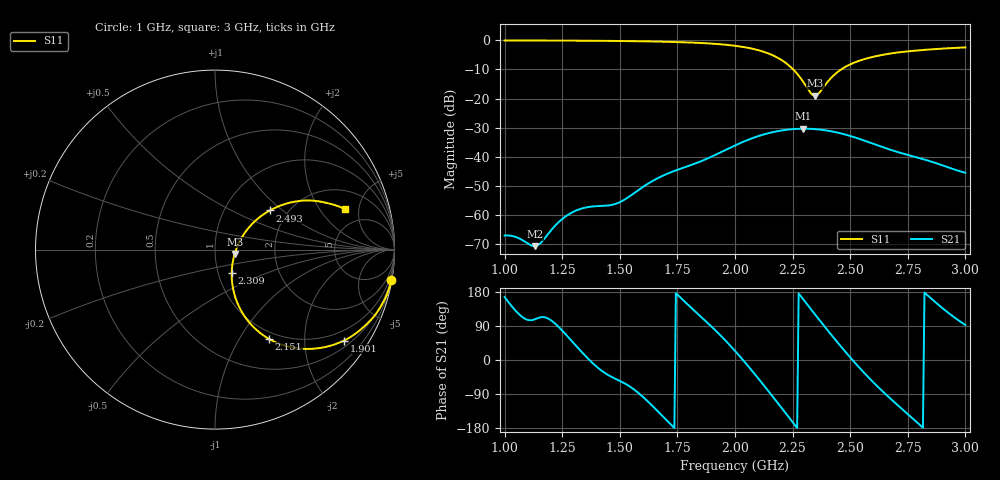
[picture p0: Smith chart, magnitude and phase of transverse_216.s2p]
! TOUCHSTONE file generated by CST MICROWAVE STUDIO
! Date and time: Tue Mar 11 13:57:49 2025
! Project name: transverse.cst
! Parameters = {Fracture=5; B=12.5; D=160; F=25; Feed=2.85625; L=100; M=30; R=0.384908; S=2; Theta=180; length=57.125; wave=114.25}
! Header version: 2024
! Port assignment regex: !\s*Touchstone port\s*([0-9]+)\s*=\s*(CST MWS port|CST DES external port|CST DES block port)\s*(.+)\s* \(\"(.*)\"\)(\s*mode\s*([0-9]+))?.*
! Touchstone port assignment:
! Touchstone port 1 = CST MWS port 1 ("")
! Touchstone port 2 = CST MWS port 2 ("")
# GHz S MA R 50
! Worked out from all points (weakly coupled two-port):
!   305 points, 1 GHz to 3 GHz, reference 50 ohm
!   highest |S21| = -30.34 dB at 2.296 GHz (marker M1); lowest = -70.7 dB at 1.132 GHz (marker M2)
!   lowest |S11| = -19.0 dB at 2.349 GHz (marker M3), VSWR 1.25, Z = 62.2 - j3.05 ohm
!   |S11| at or under -10 dB: 2.253 GHz to 2.461 GHz (207.7 MHz wide, 8.81 % of centre)
!   S12 and S22 are empty: the file has one direction only
!   S11 on the Smith chart (normalised r, x): 1 GHz: 0, -12; 1.901 GHz: 0.67, -3.02; 2.151 GHz: 0.90, -1.36; 2.309 GHz: 1.16, -0.31; 2.493 GHz: 1.62, +0.82; 3 GHz: 3.35, +3.54
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1  0.9976 -9.8  0.0004445 166.1  0 0.0  0 0.0
1.04605  0.9972 -10.4  0.0004224 131.1  0 0.0  0 0.0
1.13158  0.9959 -11.7  0.0002914 107.5  0 0.0  0 0.0
1.15789  0.9952 -12.1  0.0003355 113.0  0 0.0  0 0.0
1.25  0.992 -13.6  0.0008527 77.7  0 0.0  0 0.0
1.33553  0.9887 -15.2  0.001295 20.6  0 0.0  0 0.0
1.49342  0.9772 -18.8  0.001616 -53.2  0 0.0  0 0.0
1.67105  0.9536 -24.1  0.004423 -139.1  0 0.0  0 0.0
1.90132  0.8795 -35.2  0.0102 86.3  0 0.0  0 0.0
2  0.8075 -42.6  0.01568 24.0  0 0.0  0 0.0
2.08553  0.7045 -51.0  0.02159 -37.0  0 0.0  0 0.0
2.15132  0.5829 -58.8  0.02581 -86.9  0 0.0  0 0.0
2.23026  0.3815 -66.6  0.02935 -148.4  0 0.0  0 0.0
2.29605  0.1943 -61.0  0.0304 160.1  0 0.0  0 0.0
2.30921  0.1618 -54.9  0.03038 149.8  0 0.0  0 0.0
2.33553  0.1169 -30.3  0.03011 129.3  0 0.0  0 0.0
2.34868  0.1121 -12.5  0.02986 119.2  0 0.0  0 0.0
2.42763  0.2491 34.6  0.02695 59.2  0 0.0  0 0.0
2.49342  0.3759 35.5  0.02322 11.5  0 0.0  0 0.0
2.57237  0.4905 32.1  0.01831 -41.5  0 0.0  0 0.0
2.67105  0.592 27.5  0.01334 -100.0  0 0.0  0 0.0
3  0.7579 17.3  0.005317 92.3  0 0.0  0 0.0
